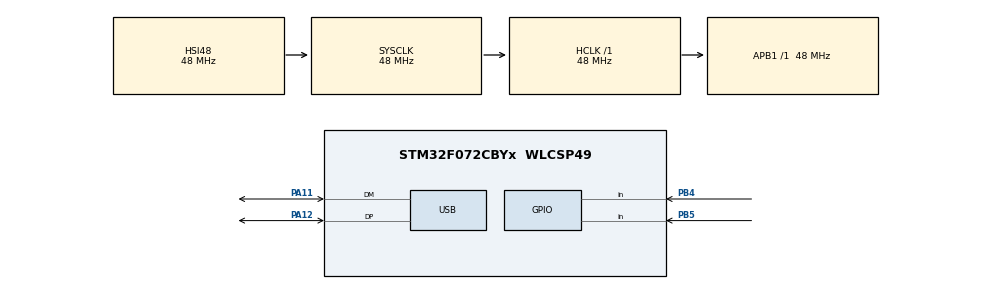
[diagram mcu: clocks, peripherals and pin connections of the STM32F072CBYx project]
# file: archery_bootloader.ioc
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Mcu.Family=STM32F0
Mcu.Name=STM32F072CBYx
Mcu.Package=WLCSP49
NVIC.TIM1_BRK_UP_TRG_COM_IRQn=true\:0\:0\:false\:false\:true\:false\:true
NVIC.TimeBase=TIM1_BRK_UP_TRG_COM_IRQn
NVIC.TimeBaseIP=TIM1
NVIC.USB_IRQn=true\:0\:0\:false\:false\:true\:false\:true
PA11.Mode=Device
PA11.Signal=USB_DM
PA12.Mode=Device
PA12.Signal=USB_DP
PB4.GPIO_PuPd=GPIO_PULLUP
PB4.Signal=GPIO_Input
PB5.GPIO_PuPd=GPIO_PULLUP
PB5.Signal=GPIO_Input
ProjectManager.HeapSize=0x200
ProjectManager.StackSize=0x400
ProjectManager.TargetToolchain=TrueSTUDIO
RCC.AHBFreq_Value=48000000
RCC.APB1Freq_Value=48000000
RCC.APB1TimFreq_Value=48000000
RCC.HCLKFreq_Value=48000000
RCC.HSE_VALUE=12000000
RCC.SYSCLKFreq_VALUE=48000000
RCC.SYSCLKSource=RCC_SYSCLKSOURCE_HSI48
RCC.USBFreq_Value=48000000
USB_DEVICE.CLASS_NAME_FS=DFU
USB_DEVICE.PID_DFU_FS=0xdf11
USB_DEVICE.USBD_DFU_APP_DEFAULT_ADD=0x0800C000
USB_DEVICE.USBD_DFU_MEDIA=@Internal Flash   /0x08000000/03*016Ka,01*016Kg,01*064Kg
USB_DEVICE.VID=0x483
USB_DEVICE.VirtualMode=Dfu
USB_DEVICE.VirtualModeFS=Dfu_FS
VP_SYS_VS_tim1.Mode=TIM1
VP_USB_DEVICE_VS_USB_DEVICE_DFU_FS.Mode=DFU_FS
board=custom

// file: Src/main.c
/* USER CODE BEGIN Header */
/**
  ******************************************************************************
  * @file           : main.c
  * @brief          : Main program body
  ******************************************************************************
  * @attention
  *
  * <h2><center>&copy; Copyright (c) 2019 STMicroelectronics.
  * All rights reserved.</center></h2>
  *
  * This software component is licensed by ST under Ultimate Liberty license
  * SLA0044, the "License"; You may not use this file except in compliance with
  * the License. You may obtain a copy of the License at:
  *                             www.st.com/SLA0044
  *
  ******************************************************************************
  */
/* USER CODE END Header */

#include "main.h"
#include "usb_device.h"

/* USER CODE BEGIN Includes */
#include "usbd_dfu.h"
/* USER CODE END Includes */

/* USER CODE BEGIN PD */
#define ADDR_FLASH_PAGE_62    ((uint32_t)0x0801F000) /* Base @ of Page 62, 2 Kbytes */
#define ADDR_FLASH_PAGE_63    ((uint32_t)0x0801F800) /* Base @ of Page 63, 2 Kbytes */

#define FLASH_USER_START_ADDR       ADDR_FLASH_PAGE_62   /* Start @ of user Flash area */
#define FLASH_USER_END_ADDR         ADDR_FLASH_PAGE_63   /* End @ of user Flash area */
#define FLASH_PAGE_TO_BE_PROTECTED OB_WRP_PAGES62TO63

#define DATA_32                     ((uint32_t)0x12345678)
/* USER CODE END PD */

/* USER CODE BEGIN PV */
//typedef  void (*pFunction)(void);
/* USER CODE END PV */

void SystemClock_Config(void);
static void MX_GPIO_Init(void);

int main(void)
{
  /* USER CODE BEGIN 1 */
	pFunction JumpToApplication;
	uint32_t JumpAddress;
  /* USER CODE END 1 */
  /* MCU Configuration--------------------------------------------------------*/

  /* Reset of all peripherals, Initializes the Flash interface and the Systick. */
  HAL_Init();

  /* Configure the system clock */
  SystemClock_Config();

  /* Initialize all configured peripherals */
  MX_GPIO_Init();

  uint32_t  readtype = 0;

  readtype = *(__IO uint32_t*)FLASH_USER_START_ADDR;

  /* USER CODE BEGIN 2 */
	if(HAL_GPIO_ReadPin(GPIOB,GPIO_PIN_4) == GPIO_PIN_SET && readtype != DATA_32)
	{
		/* Test if user code is programmed starting from USBD_DFU_APP_DEFAULT_ADD address */
		if (((*(__IO uint32_t*)USBD_DFU_APP_DEFAULT_ADD) & 0x2FFE0000 ) == 0x20000000)
		{
			/* Jump to user application */
			JumpAddress = *(__IO uint32_t*) (USBD_DFU_APP_DEFAULT_ADD + 4);
			JumpToApplication = (pFunction) JumpAddress;

			/* Initialize user application's Stack Pointer */
			__set_MSP(*(__IO uint32_t*) USBD_DFU_APP_DEFAULT_ADD);
			JumpToApplication();
		}
	} else {
		uint32_t PageError = 0;
		FLASH_EraseInitTypeDef EraseInitStruct;
		FLASH_OBProgramInitTypeDef OptionsBytesStruct;

		/* Unlock the Flash to enable the flash control register access *************/
		HAL_FLASH_Unlock();

		/* Unlock the Options Bytes *************************************************/
		HAL_FLASH_OB_Unlock();

		/* Get pages write protection status ****************************************/
		HAL_FLASHEx_OBGetConfig(&OptionsBytesStruct);

		/* Check if desired pages are already write protected ***********************/
		if((OptionsBytesStruct.WRPPage & FLASH_PAGE_TO_BE_PROTECTED) != FLASH_PAGE_TO_BE_PROTECTED)
		{
			/* Restore write protected pages */
			OptionsBytesStruct.OptionType   = OPTIONBYTE_WRP;
			OptionsBytesStruct.WRPState     = OB_WRPSTATE_DISABLE;
			OptionsBytesStruct.WRPPage = FLASH_PAGE_TO_BE_PROTECTED;
			if(HAL_FLASHEx_OBProgram(&OptionsBytesStruct) != HAL_OK)
			{
			}

			/* Generate System Reset to load the new option byte values ***************/
			HAL_FLASH_OB_Launch();
		}

		/* Lock the Options Bytes *************************************************/
		HAL_FLASH_OB_Lock();

		/* The selected pages are not write protected *******************************/
		if ((OptionsBytesStruct.WRPPage & FLASH_PAGE_TO_BE_PROTECTED) != 0x00)
		{
			/* Fill EraseInit structure************************************************/
			EraseInitStruct.TypeErase   = FLASH_TYPEERASE_PAGES;
			EraseInitStruct.PageAddress = FLASH_USER_START_ADDR;
			EraseInitStruct.NbPages     = (FLASH_USER_END_ADDR - FLASH_USER_START_ADDR)/FLASH_PAGE_SIZE;

			if (HAL_FLASHEx_Erase(&EraseInitStruct, &PageError) != HAL_OK)
			{
			}
		}
//		readtype = *(__IO uint32_t*)FLASH_USER_START_ADDR;
//
//		if (readtype > 0) {
//			HAL_Delay(1);
//		}
		MX_USB_DEVICE_Init();
	}
	//MX_USART1_UART_Init();
	//user_printString("Enter BootLoader\n", strlen("Enter BootLoader\n"));

  /* USER CODE END 2 */

  /* Infinite loop */
  while (1)
  {

  }
}

void SystemClock_Config(void)
{
  RCC_OscInitTypeDef RCC_OscInitStruct = {0};
  RCC_ClkInitTypeDef RCC_ClkInitStruct = {0};
  RCC_PeriphCLKInitTypeDef PeriphClkInit = {0};

  /** Initializes the CPU, AHB and APB busses clocks
  */
  RCC_OscInitStruct.OscillatorType = RCC_OSCILLATORTYPE_HSI48;
  RCC_OscInitStruct.HSI48State = RCC_HSI48_ON;
  RCC_OscInitStruct.PLL.PLLState = RCC_PLL_NONE;
  if (HAL_RCC_OscConfig(&RCC_OscInitStruct) != HAL_OK)
  {
    Error_Handler();
  }
  /** Initializes the CPU, AHB and APB busses clocks
  */
  RCC_ClkInitStruct.ClockType = RCC_CLOCKTYPE_HCLK|RCC_CLOCKTYPE_SYSCLK
                              |RCC_CLOCKTYPE_PCLK1;
  RCC_ClkInitStruct.SYSCLKSource = RCC_SYSCLKSOURCE_HSI48;
  RCC_ClkInitStruct.AHBCLKDivider = RCC_SYSCLK_DIV1;
  RCC_ClkInitStruct.APB1CLKDivider = RCC_HCLK_DIV1;

  if (HAL_RCC_ClockConfig(&RCC_ClkInitStruct, FLASH_LATENCY_1) != HAL_OK)
  {
    Error_Handler();
  }
  PeriphClkInit.PeriphClockSelection = RCC_PERIPHCLK_USB;
  PeriphClkInit.UsbClockSelection = RCC_USBCLKSOURCE_HSI48;

  if (HAL_RCCEx_PeriphCLKConfig(&PeriphClkInit) != HAL_OK)
  {
    Error_Handler();
  }
}

static void MX_GPIO_Init(void)
{
  GPIO_InitTypeDef GPIO_InitStruct = {0};

  /* GPIO Ports Clock Enable */
  __HAL_RCC_GPIOB_CLK_ENABLE();
  __HAL_RCC_GPIOA_CLK_ENABLE();

  /*Configure GPIO pins : PB4 PB5 */
  GPIO_InitStruct.Pin = GPIO_PIN_4|GPIO_PIN_5;
  GPIO_InitStruct.Mode = GPIO_MODE_INPUT;
  GPIO_InitStruct.Pull = GPIO_PULLUP;
  HAL_GPIO_Init(GPIOB, &GPIO_InitStruct);

}

void HAL_TIM_PeriodElapsedCallback(TIM_HandleTypeDef *htim)
{
  if (htim->Instance == TIM1) {
    HAL_IncTick();
  }
}

void Error_Handler(void)
{
}

/************************ (C) COPYRIGHT STMicroelectronics *****END OF FILE****/
